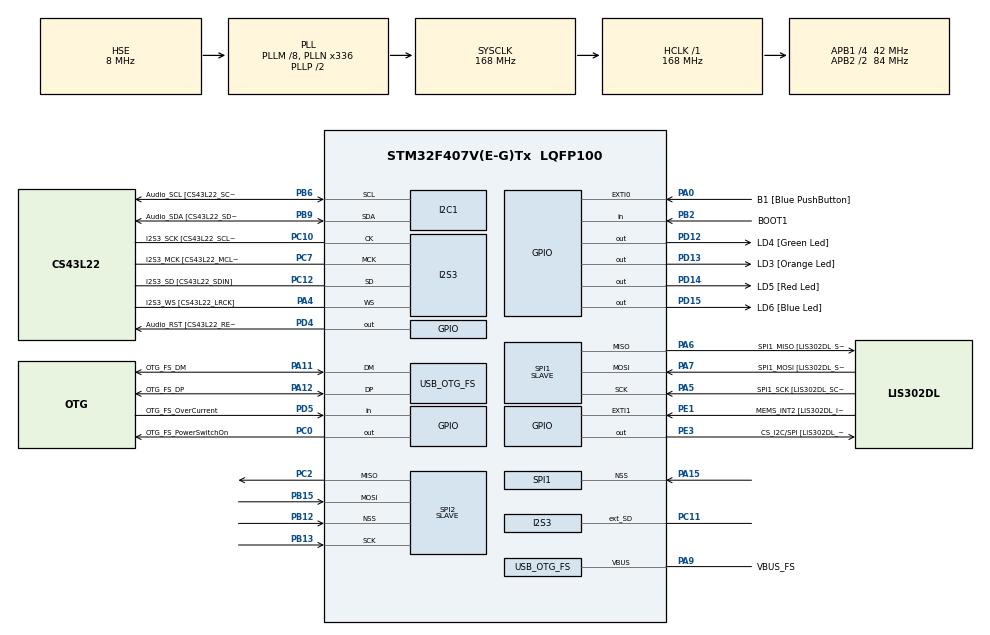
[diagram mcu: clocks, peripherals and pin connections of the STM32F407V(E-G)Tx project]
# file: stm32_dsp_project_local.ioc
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Dma.Request0=SPI2_RX
Dma.Request1=SPI1_RX
Dma.SPI1_RX.1.Direction=DMA_PERIPH_TO_MEMORY
Dma.SPI1_RX.1.FIFOMode=DMA_FIFOMODE_DISABLE
Dma.SPI1_RX.1.Instance=DMA2_Stream0
Dma.SPI1_RX.1.MemDataAlignment=DMA_MDATAALIGN_BYTE
Dma.SPI1_RX.1.MemInc=DMA_MINC_ENABLE
Dma.SPI1_RX.1.Mode=DMA_NORMAL
Dma.SPI1_RX.1.PeriphDataAlignment=DMA_PDATAALIGN_BYTE
Dma.SPI1_RX.1.PeriphInc=DMA_PINC_DISABLE
Dma.SPI1_RX.1.Priority=DMA_PRIORITY_LOW
Dma.SPI2_RX.0.Direction=DMA_PERIPH_TO_MEMORY
Dma.SPI2_RX.0.FIFOMode=DMA_FIFOMODE_DISABLE
Dma.SPI2_RX.0.Instance=DMA1_Stream3
Dma.SPI2_RX.0.MemDataAlignment=DMA_MDATAALIGN_BYTE
Dma.SPI2_RX.0.MemInc=DMA_MINC_ENABLE
Dma.SPI2_RX.0.Mode=DMA_NORMAL
Dma.SPI2_RX.0.PeriphDataAlignment=DMA_PDATAALIGN_BYTE
Dma.SPI2_RX.0.PeriphInc=DMA_PINC_DISABLE
Dma.SPI2_RX.0.Priority=DMA_PRIORITY_LOW
FREERTOS.Tasks01=defaultTask,0,128,StartDefaultTask,Default,NULL,Dynamic,NULL,NULL
I2S3.AudioFreq=I2S_AUDIOFREQ_32K
I2S3.DataFormat=I2S_DATAFORMAT_24B
I2S3.ErrorAudioFreq=-2.34 %
I2S3.FullDuplexMode=I2S_FULLDUPLEXMODE_ENABLE
I2S3.Instance=SPI$Index
I2S3.RealAudioFreq=31.25 KHz
I2S3.VirtualMode=I2S_MODE_MASTER
Mcu.Family=STM32F4
Mcu.Name=STM32F407V(E-G)Tx
Mcu.Package=LQFP100
NVIC.DMA1_Stream3_IRQn=true\:5\:0\:false\:false\:true\:true\:false\:true\:true
NVIC.DMA2_Stream0_IRQn=true\:5\:0\:false\:false\:true\:true\:false\:true\:true
NVIC.OTG_FS_IRQn=true\:5\:0\:false\:false\:true\:true\:true\:true\:true
NVIC.PriorityGroup=NVIC_PRIORITYGROUP_4
NVIC.SPI1_IRQn=true\:5\:0\:false\:false\:true\:true\:true\:true\:true
NVIC.SPI2_IRQn=true\:5\:0\:false\:false\:true\:true\:true\:true\:true
PA0-WKUP.GPIO_Label=B1 [Blue PushButton]
PA0-WKUP.GPIO_ModeDefaultEXTI=GPIO_MODE_EVT_RISING
PA0-WKUP.GPIO_PuPd=GPIO_NOPULL
PA0-WKUP.Signal=GPXTI0
PA10.GPIO_Label=OTG_FS_ID
PA10.GPIO_Mode=GPIO_MODE_AF_PP
PA10.GPIO_PuPd=GPIO_NOPULL
PA10.GPIO_Speed=GPIO_SPEED_FREQ_LOW
PA10.Signal=USB_OTG_FS_ID
PA11.GPIO_Label=OTG_FS_DM
PA11.GPIO_Mode=GPIO_MODE_AF_PP
PA11.GPIO_PuPd=GPIO_NOPULL
PA11.GPIO_Speed=GPIO_SPEED_FREQ_LOW
PA11.Mode=Host_Only
PA11.Signal=USB_OTG_FS_DM
PA12.GPIO_Label=OTG_FS_DP
PA12.GPIO_Mode=GPIO_MODE_AF_PP
PA12.GPIO_PuPd=GPIO_NOPULL
PA12.GPIO_Speed=GPIO_SPEED_FREQ_LOW
PA12.Mode=Host_Only
PA12.Signal=USB_OTG_FS_DP
PA13.GPIO_Label=SWDIO
PA13.Mode=Serial_Wire
PA13.Signal=SYS_JTMS-SWDIO
PA14.GPIO_Label=SWCLK
PA14.Mode=Serial_Wire
PA14.Signal=SYS_JTCK-SWCLK
PA15.Mode=NSS_Signal_Hard_Input
PA15.Signal=SPI1_NSS
PA4.GPIO_Label=I2S3_WS [CS43L22_LRCK]
PA4.GPIO_Mode=GPIO_MODE_AF_PP
PA4.GPIO_PuPd=GPIO_NOPULL
PA4.GPIO_Speed=GPIO_SPEED_FREQ_LOW
PA4.Mode=Full_Duplex_Master
PA4.Signal=I2S3_WS
PA5.GPIO_Label=SPI1_SCK [LIS302DL_SCL/SPC]
PA5.GPIO_Mode=GPIO_MODE_AF_PP
PA5.GPIO_PuPd=GPIO_NOPULL
PA5.GPIO_Speed=GPIO_SPEED_FREQ_LOW
PA5.Mode=Full_Duplex_Slave
PA5.Signal=SPI1_SCK
PA6.GPIO_Label=SPI1_MISO [LIS302DL_SDO]
PA6.GPIO_Mode=GPIO_MODE_AF_PP
PA6.GPIO_PuPd=GPIO_NOPULL
PA6.GPIO_Speed=GPIO_SPEED_FREQ_LOW
PA6.Mode=Full_Duplex_Slave
PA6.Signal=SPI1_MISO
PA7.GPIO_Label=SPI1_MOSI [LIS302DL_SDA/SDI/SDO]
PA7.GPIO_Mode=GPIO_MODE_AF_PP
PA7.GPIO_PuPd=GPIO_NOPULL
PA7.GPIO_Speed=GPIO_SPEED_FREQ_LOW
PA7.Mode=Full_Duplex_Slave
PA7.Signal=SPI1_MOSI
PA9.GPIO_Label=VBUS_FS
PA9.GPIO_Mode=GPIO_MODE_INPUT
PA9.GPIO_PuPd=GPIO_NOPULL
PA9.Mode=Activate_VBUS
PA9.Signal=USB_OTG_FS_VBUS
PB10.GPIO_Label=CLK_IN [MP45DT02_CLK]
PB10.GPIO_Mode=GPIO_MODE_AF_PP
PB10.GPIO_PuPd=GPIO_NOPULL
PB10.GPIO_Speed=GPIO_SPEED_FREQ_LOW
PB10.Signal=I2S2_CK
PB12.Mode=NSS_Signal_Hard_Input
PB12.Signal=SPI2_NSS
PB13.Mode=Full_Duplex_Slave
PB13.Signal=SPI2_SCK
PB15.Mode=Full_Duplex_Slave
PB15.Signal=SPI2_MOSI
PB2.GPIO_Label=BOOT1
PB2.GPIO_Mode=GPIO_MODE_INPUT
PB2.GPIO_PuPd=GPIO_NOPULL
PB2.Signal=GPIO_Input
PB3.GPIO_Label=SWO
PB3.Signal=SYS_JTDO-SWO
PB6.GPIO_Label=Audio_SCL [CS43L22_SCL]
PB6.GPIO_Mode=GPIO_MODE_AF_OD
PB6.GPIO_Pu=GPIO_PULLUP
PB6.GPIO_PuPd=GPIO_NOPULL
PB6.GPIO_Speed=GPIO_SPEED_FREQ_LOW
PB6.Mode=I2C
PB6.Signal=I2C1_SCL
PB9.GPIO_Label=Audio_SDA [CS43L22_SDA]
PB9.GPIO_Mode=GPIO_MODE_AF_OD
PB9.GPIO_Pu=GPIO_PULLUP
PB9.GPIO_PuPd=GPIO_NOPULL
PB9.GPIO_Speed=GPIO_SPEED_FREQ_LOW
PB9.Mode=I2C
PB9.Signal=I2C1_SDA
PC0.GPIO_Label=OTG_FS_PowerSwitchOn
PC0.GPIO_PuPd=GPIO_NOPULL
PC0.GPIO_Speed=GPIO_SPEED_FREQ_LOW
PC0.PinState=GPIO_PIN_SET
PC0.Signal=GPIO_Output
PC10.GPIO_Label=I2S3_SCK [CS43L22_SCLK]
PC10.GPIO_Mode=GPIO_MODE_AF_PP
PC10.GPIO_PuPd=GPIO_NOPULL
PC10.GPIO_Speed=GPIO_SPEED_FREQ_LOW
PC10.Mode=Full_Duplex_Master
PC10.Signal=I2S3_CK
PC11.Mode=Full_Duplex_Master
PC11.Signal=I2S3_ext_SD
PC12.GPIO_Label=I2S3_SD [CS43L22_SDIN]
PC12.GPIO_Mode=GPIO_MODE_AF_PP
PC12.GPIO_PuPd=GPIO_NOPULL
PC12.GPIO_Speed=GPIO_SPEED_FREQ_LOW
PC12.Mode=Full_Duplex_Master
PC12.Signal=I2S3_SD
PC14-OSC32_IN.GPIO_Label=PC14-OSC32_IN
PC14-OSC32_IN.Mode=LSE-External-Oscillator
PC14-OSC32_IN.Signal=RCC_OSC32_IN
PC15-OSC32_OUT.GPIO_Label=PC15-OSC32_OUT
PC15-OSC32_OUT.Mode=LSE-External-Oscillator
PC15-OSC32_OUT.Signal=RCC_OSC32_OUT
PC2.Mode=Full_Duplex_Slave
PC2.Signal=SPI2_MISO
PC3.GPIO_Label=PDM_OUT [MP45DT02_DOUT]
PC3.GPIO_Mode=GPIO_MODE_AF_PP
PC3.GPIO_PuPd=GPIO_NOPULL
PC3.GPIO_Speed=GPIO_SPEED_FREQ_LOW
PC3.Signal=I2S2_SD
PC7.GPIO_Label=I2S3_MCK [CS43L22_MCLK]
PC7.GPIO_Mode=GPIO_MODE_AF_PP
PC7.GPIO_PuPd=GPIO_NOPULL
PC7.GPIO_Speed=GPIO_SPEED_FREQ_LOW
PC7.Mode=Master_Clock_Activated
PC7.Signal=I2S3_MCK
PD12.GPIO_Label=LD4 [Green Led]
PD12.GPIO_PuPd=GPIO_NOPULL
PD12.GPIO_Speed=GPIO_SPEED_FREQ_LOW
PD12.Signal=GPIO_Output
PD13.GPIO_Label=LD3 [Orange Led]
PD13.GPIO_PuPd=GPIO_NOPULL
PD13.GPIO_Speed=GPIO_SPEED_FREQ_LOW
PD13.Signal=GPIO_Output
PD14.GPIO_Label=LD5 [Red Led]
PD14.GPIO_PuPd=GPIO_NOPULL
PD14.GPIO_Speed=GPIO_SPEED_FREQ_LOW
PD14.Signal=GPIO_Output
PD15.GPIO_Label=LD6 [Blue Led]
PD15.GPIO_PuPd=GPIO_NOPULL
PD15.GPIO_Speed=GPIO_SPEED_FREQ_LOW
PD15.Signal=GPIO_Output
PD4.GPIO_Label=Audio_RST [CS43L22_RESET]
PD4.GPIO_PuPd=GPIO_NOPULL
PD4.GPIO_Speed=GPIO_SPEED_FREQ_LOW
PD4.Signal=GPIO_Output
PD5.GPIO_Label=OTG_FS_OverCurrent
PD5.GPIO_Mode=GPIO_MODE_INPUT
PD5.GPIO_PuPd=GPIO_NOPULL
PD5.Signal=GPIO_Input
PE1.GPIO_Label=MEMS_INT2 [LIS302DL_INT2]
PE1.GPIO_ModeDefaultEXTI=GPIO_MODE_EVT_RISING
PE1.GPIO_PuPd=GPIO_NOPULL
PE1.Signal=GPXTI1
PE3.GPIO_Label=CS_I2C/SPI [LIS302DL_CS_I2C/SPI]
PE3.GPIO_PuPd=GPIO_NOPULL
PE3.GPIO_Speed=GPIO_SPEED_FREQ_LOW
PE3.Signal=GPIO_Output
PH0-OSC_IN.GPIO_Label=PH0-OSC_IN
PH0-OSC_IN.Mode=HSE-External-Oscillator
PH0-OSC_IN.Signal=RCC_OSC_IN
PH1-OSC_OUT.GPIO_Label=PH1-OSC_OUT
PH1-OSC_OUT.Mode=HSE-External-Oscillator
PH1-OSC_OUT.Signal=RCC_OSC_OUT
ProjectManager.HeapSize=0x200
ProjectManager.StackSize=0x400
ProjectManager.TargetToolchain=Makefile
RCC.48MHZClocksFreq_Value=48000000
RCC.AHBFreq_Value=168000000
RCC.APB1CLKDivider=RCC_HCLK_DIV4
RCC.APB1Freq_Value=42000000
RCC.APB1TimFreq_Value=84000000
RCC.APB2CLKDivider=RCC_HCLK_DIV2
RCC.APB2Freq_Value=84000000
RCC.APB2TimFreq_Value=168000000
RCC.CortexFreq_Value=168000000
RCC.HCLKFreq_Value=168000000
RCC.HSE_VALUE=8000000
RCC.HSI_VALUE=16000000
RCC.PLLM=8
RCC.PLLN=336
RCC.PLLQ=7
RCC.SYSCLKFreq_VALUE=168000000
RCC.SYSCLKSource=RCC_SYSCLKSOURCE_PLLCLK
RCC.VCOOutputFreq_Value=336000000
SPI1.Direction=SPI_DIRECTION_2LINES
SPI1.Mode=SPI_MODE_SLAVE
SPI1.VirtualNSS=VM_NSSHARD
SPI1.VirtualType=VM_SLAVE
SPI2.Direction=SPI_DIRECTION_2LINES
SPI2.Mode=SPI_MODE_SLAVE
SPI2.VirtualNSS=VM_NSSHARD
SPI2.VirtualType=VM_SLAVE
USB_HOST.BSP.number=1
USB_HOST.USBH_HandleTypeDef-CDC_FS=hUsbHostFS
USB_HOST.USBH_USE_OS-CDC_FS=0
USB_HOST.VirtualModeFS=Cdc
USB_HOST0.BSP.STBoard=false
USB_HOST0.BSP.api=Unknown
USB_HOST0.BSP.instance=PC0
USB_HOST0.BSP.ip=GPIO
USB_HOST0.BSP.mode=Output
USB_HOST0.BSP.name=Drive_VBUS_FS
USB_HOST0.BSP.solution=PC0
USB_OTG_FS.VirtualMode=Host_Only
USB_OTG_FS.phy_itface=HCD_PHY_EMBEDDED
VP_FREERTOS_VS_CMSIS_V1.Mode=CMSIS_V1
VP_USB_HOST_VS_USB_HOST_CDC_FS.Mode=CDC_FS
board=STM32F407G-DISC1

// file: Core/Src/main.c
/* USER CODE BEGIN Header */
/**
  ******************************************************************************
  * @file           : main.c
  * @brief          : Main program body
  ******************************************************************************
  * @attention
  *
  * Copyright (c) 2026 STMicroelectronics.
  * All rights reserved.
  *
  * This software is licensed under terms that can be found in the LICENSE file
  * in the root directory of this software component.
  * If no LICENSE file comes with this software, it is provided AS-IS.
  *
  ******************************************************************************
  */
/* USER CODE END Header */
#include "main.h"
#include "cmsis_os.h"
// #include "usb_host.h"

/* USER CODE BEGIN Includes */
#include "dsp_task.h"
#include "spi_task.h"
/* USER CODE END Includes */

I2C_HandleTypeDef hi2c1;

I2S_HandleTypeDef hi2s3;

SPI_HandleTypeDef hspi1;
SPI_HandleTypeDef hspi2;
DMA_HandleTypeDef hdma_spi1_rx;
DMA_HandleTypeDef hdma_spi2_rx;

osThreadId defaultTaskHandle;
/* USER CODE BEGIN PV */
osThreadId dspTaskHandle;
osThreadId spiTaskHandle;
osSemaphoreId spiSemHandle;

uint8_t spi_rx_buf[2];
// uint8_t test_buf[2];
// volatile uint8_t spi_done = 0;
volatile uint8_t gesture = 0;
volatile uint8_t intensity = 0;
// volatile uint8_t store[100];
// volatile uint8_t store_idx = 0;

/* USER CODE END PV */

void SystemClock_Config(void);
static void MX_GPIO_Init(void);
static void MX_DMA_Init(void);
static void MX_I2C1_Init(void);
static void MX_I2S3_Init(void);
static void MX_SPI1_Init(void);
static void MX_SPI2_Init(void);
void StartDefaultTask(void const * argument);

int main(void)
{

  /* MCU Configuration--------------------------------------------------------*/

  /* Reset of all peripherals, Initializes the Flash interface and the Systick. */
  HAL_Init();

  /* USER CODE BEGIN Init */
  GPIO_InitTypeDef GPIO_InitStruct = {0};
  GPIO_InitStruct.Pin = GPIO_PIN_12;
  GPIO_InitStruct.Mode = GPIO_MODE_OUTPUT_PP; // Push-Pull
  GPIO_InitStruct.Pull = GPIO_NOPULL;
  GPIO_InitStruct.Speed = GPIO_SPEED_FREQ_LOW;
  HAL_GPIO_Init(GPIOD, &GPIO_InitStruct);
  /* USER CODE END Init */

  /* Configure the system clock */
  SystemClock_Config();

  /* Initialize all configured peripherals */
  MX_GPIO_Init();
  MX_DMA_Init();
  MX_I2C1_Init();
  MX_I2S3_Init();
  MX_SPI1_Init();
  MX_SPI2_Init();

  /* USER CODE BEGIN 2 */
  HAL_SPI_Receive_DMA(&hspi2, spi_rx_buf, 2);
  /* USER CODE END 2 */

  /* USER CODE BEGIN RTOS_MUTEX */
  osMutexDef(paramsMutex);
  g_params_mutex = osMutexCreate(osMutex(paramsMutex));
  /* USER CODE END RTOS_MUTEX */

  /* USER CODE BEGIN RTOS_SEMAPHORES */
  /* add semaphores, ... */
    osSemaphoreDef(spiSem);
    spiSemHandle = osSemaphoreCreate(osSemaphore(spiSem), 1);
    // osSemaphoreWait(spiSemHandle, 0); // start locked

  /* USER CODE END RTOS_SEMAPHORES */

  /* Create the thread(s) */
  /* definition and creation of defaultTask */
  osThreadDef(defaultTask, StartDefaultTask, osPriorityNormal, 0, 128);
  defaultTaskHandle = osThreadCreate(osThread(defaultTask), NULL);

  /* USER CODE BEGIN RTOS_THREADS */
  osThreadDef(dspTask, StartDSPTask, osPriorityNormal, 0, 512);
  dspTaskHandle = osThreadCreate(osThread(dspTask), NULL);

  osThreadDef(spiTask, StartSPITask, osPriorityAboveNormal, 0, 512);
  spiTaskHandle = osThreadCreate(osThread(spiTask), NULL);

  /* USER CODE END RTOS_THREADS */

  /* Start scheduler */
  osKernelStart();

  /* We should never get here as control is now taken by the scheduler */

  /* Infinite loop */
  while (1)
  {

  }
}

void SystemClock_Config(void)
{
  RCC_OscInitTypeDef RCC_OscInitStruct = {0};
  RCC_ClkInitTypeDef RCC_ClkInitStruct = {0};

  /** Configure the main internal regulator output voltage
  */
  __HAL_RCC_PWR_CLK_ENABLE();
  __HAL_PWR_VOLTAGESCALING_CONFIG(PWR_REGULATOR_VOLTAGE_SCALE1);

  /** Initializes the RCC Oscillators according to the specified parameters
  * in the RCC_OscInitTypeDef structure.
  */
  RCC_OscInitStruct.OscillatorType = RCC_OSCILLATORTYPE_HSE;
  RCC_OscInitStruct.HSEState = RCC_HSE_ON;
  RCC_OscInitStruct.PLL.PLLState = RCC_PLL_ON;
  RCC_OscInitStruct.PLL.PLLSource = RCC_PLLSOURCE_HSE;
  RCC_OscInitStruct.PLL.PLLM = 8;
  RCC_OscInitStruct.PLL.PLLN = 336;
  RCC_OscInitStruct.PLL.PLLP = RCC_PLLP_DIV2;
  RCC_OscInitStruct.PLL.PLLQ = 7;
  if (HAL_RCC_OscConfig(&RCC_OscInitStruct) != HAL_OK)
  {
    Error_Handler();
  }

  /** Initializes the CPU, AHB and APB buses clocks
  */
  RCC_ClkInitStruct.ClockType = RCC_CLOCKTYPE_HCLK|RCC_CLOCKTYPE_SYSCLK
                              |RCC_CLOCKTYPE_PCLK1|RCC_CLOCKTYPE_PCLK2;
  RCC_ClkInitStruct.SYSCLKSource = RCC_SYSCLKSOURCE_PLLCLK;
  RCC_ClkInitStruct.AHBCLKDivider = RCC_SYSCLK_DIV1;
  RCC_ClkInitStruct.APB1CLKDivider = RCC_HCLK_DIV4;
  RCC_ClkInitStruct.APB2CLKDivider = RCC_HCLK_DIV2;

  if (HAL_RCC_ClockConfig(&RCC_ClkInitStruct, FLASH_LATENCY_5) != HAL_OK)
  {
    Error_Handler();
  }
}

static void MX_I2C1_Init(void)
{

  hi2c1.Instance = I2C1;
  hi2c1.Init.ClockSpeed = 100000;
  hi2c1.Init.DutyCycle = I2C_DUTYCYCLE_2;
  hi2c1.Init.OwnAddress1 = 0;
  hi2c1.Init.AddressingMode = I2C_ADDRESSINGMODE_7BIT;
  hi2c1.Init.DualAddressMode = I2C_DUALADDRESS_DISABLE;
  hi2c1.Init.OwnAddress2 = 0;
  hi2c1.Init.GeneralCallMode = I2C_GENERALCALL_DISABLE;
  hi2c1.Init.NoStretchMode = I2C_NOSTRETCH_DISABLE;
  if (HAL_I2C_Init(&hi2c1) != HAL_OK)
  {
    Error_Handler();
  }

}

static void MX_I2S3_Init(void)
{

  hi2s3.Instance = SPI3;
  hi2s3.Init.Mode = I2S_MODE_MASTER_TX;
  hi2s3.Init.Standard = I2S_STANDARD_PHILIPS;
  hi2s3.Init.DataFormat = I2S_DATAFORMAT_24B;
  hi2s3.Init.MCLKOutput = I2S_MCLKOUTPUT_ENABLE;
  hi2s3.Init.AudioFreq = I2S_AUDIOFREQ_32K;
  hi2s3.Init.CPOL = I2S_CPOL_LOW;
  hi2s3.Init.ClockSource = I2S_CLOCK_PLL;
  hi2s3.Init.FullDuplexMode = I2S_FULLDUPLEXMODE_ENABLE;
  if (HAL_I2S_Init(&hi2s3) != HAL_OK)
  {
    Error_Handler();
  }

}

static void MX_SPI1_Init(void)
{

  /* SPI1 parameter configuration*/
  hspi1.Instance = SPI1;
  hspi1.Init.Mode = SPI_MODE_SLAVE;
  hspi1.Init.Direction = SPI_DIRECTION_2LINES;
  hspi1.Init.DataSize = SPI_DATASIZE_8BIT;
  hspi1.Init.CLKPolarity = SPI_POLARITY_LOW;
  hspi1.Init.CLKPhase = SPI_PHASE_1EDGE;
  hspi1.Init.NSS = SPI_NSS_HARD_INPUT;
  hspi1.Init.FirstBit = SPI_FIRSTBIT_MSB;
  hspi1.Init.TIMode = SPI_TIMODE_DISABLE;
  hspi1.Init.CRCCalculation = SPI_CRCCALCULATION_DISABLE;
  hspi1.Init.CRCPolynomial = 10;
  if (HAL_SPI_Init(&hspi1) != HAL_OK)
  {
    Error_Handler();
  }

}

static void MX_SPI2_Init(void)
{

  /* SPI2 parameter configuration*/
  hspi2.Instance = SPI2;
  hspi2.Init.Mode = SPI_MODE_SLAVE;
  hspi2.Init.Direction = SPI_DIRECTION_2LINES;
  hspi2.Init.DataSize = SPI_DATASIZE_8BIT;
  hspi2.Init.CLKPolarity = SPI_POLARITY_LOW;
  hspi2.Init.CLKPhase = SPI_PHASE_1EDGE;
  hspi2.Init.NSS = SPI_NSS_HARD_INPUT;
  hspi2.Init.FirstBit = SPI_FIRSTBIT_MSB;
  hspi2.Init.TIMode = SPI_TIMODE_DISABLE;
  hspi2.Init.CRCCalculation = SPI_CRCCALCULATION_DISABLE;
  hspi2.Init.CRCPolynomial = 10;
  if (HAL_SPI_Init(&hspi2) != HAL_OK)
  {
    Error_Handler();
  }

}

static void MX_DMA_Init(void)
{

  /* DMA controller clock enable */
  __HAL_RCC_DMA1_CLK_ENABLE();
  __HAL_RCC_DMA2_CLK_ENABLE();

  /* DMA interrupt init */
  /* DMA1_Stream3_IRQn interrupt configuration */
  HAL_NVIC_SetPriority(DMA1_Stream3_IRQn, 5, 0);
  HAL_NVIC_EnableIRQ(DMA1_Stream3_IRQn);
  /* DMA2_Stream0_IRQn interrupt configuration */
  HAL_NVIC_SetPriority(DMA2_Stream0_IRQn, 5, 0);
  HAL_NVIC_EnableIRQ(DMA2_Stream0_IRQn);

}

static void MX_GPIO_Init(void)
{
  GPIO_InitTypeDef GPIO_InitStruct = {0};

  /* GPIO Ports Clock Enable */
  __HAL_RCC_GPIOE_CLK_ENABLE();
  __HAL_RCC_GPIOC_CLK_ENABLE();
  __HAL_RCC_GPIOH_CLK_ENABLE();
  __HAL_RCC_GPIOA_CLK_ENABLE();
  __HAL_RCC_GPIOB_CLK_ENABLE();
  __HAL_RCC_GPIOD_CLK_ENABLE();

  /*Configure GPIO pin Output Level */
  HAL_GPIO_WritePin(CS_I2C_SPI_GPIO_Port, CS_I2C_SPI_Pin, GPIO_PIN_RESET);

  /*Configure GPIO pin Output Level */
  HAL_GPIO_WritePin(OTG_FS_PowerSwitchOn_GPIO_Port, OTG_FS_PowerSwitchOn_Pin, GPIO_PIN_SET);

  /*Configure GPIO pin Output Level */
  HAL_GPIO_WritePin(GPIOD, LD4_Pin|LD3_Pin|LD5_Pin|LD6_Pin
                          |Audio_RST_Pin, GPIO_PIN_RESET);

  /*Configure GPIO pin : CS_I2C_SPI_Pin */
  GPIO_InitStruct.Pin = CS_I2C_SPI_Pin;
  GPIO_InitStruct.Mode = GPIO_MODE_OUTPUT_PP;
  GPIO_InitStruct.Pull = GPIO_NOPULL;
  GPIO_InitStruct.Speed = GPIO_SPEED_FREQ_LOW;
  HAL_GPIO_Init(CS_I2C_SPI_GPIO_Port, &GPIO_InitStruct);

  /*Configure GPIO pin : OTG_FS_PowerSwitchOn_Pin */
  GPIO_InitStruct.Pin = OTG_FS_PowerSwitchOn_Pin;
  GPIO_InitStruct.Mode = GPIO_MODE_OUTPUT_PP;
  GPIO_InitStruct.Pull = GPIO_NOPULL;
  GPIO_InitStruct.Speed = GPIO_SPEED_FREQ_LOW;
  HAL_GPIO_Init(OTG_FS_PowerSwitchOn_GPIO_Port, &GPIO_InitStruct);

  /*Configure GPIO pin : PDM_OUT_Pin */
  GPIO_InitStruct.Pin = PDM_OUT_Pin;
  GPIO_InitStruct.Mode = GPIO_MODE_AF_PP;
  GPIO_InitStruct.Pull = GPIO_NOPULL;
  GPIO_InitStruct.Speed = GPIO_SPEED_FREQ_LOW;
  GPIO_InitStruct.Alternate = GPIO_AF5_SPI2;
  HAL_GPIO_Init(PDM_OUT_GPIO_Port, &GPIO_InitStruct);

  /*Configure GPIO pin : B1_Pin */
  GPIO_InitStruct.Pin = B1_Pin;
  GPIO_InitStruct.Mode = GPIO_MODE_EVT_RISING;
  GPIO_InitStruct.Pull = GPIO_NOPULL;
  HAL_GPIO_Init(B1_GPIO_Port, &GPIO_InitStruct);

  /*Configure GPIO pin : BOOT1_Pin */
  GPIO_InitStruct.Pin = BOOT1_Pin;
  GPIO_InitStruct.Mode = GPIO_MODE_INPUT;
  GPIO_InitStruct.Pull = GPIO_NOPULL;
  HAL_GPIO_Init(BOOT1_GPIO_Port, &GPIO_InitStruct);

  /*Configure GPIO pin : CLK_IN_Pin */
  GPIO_InitStruct.Pin = CLK_IN_Pin;
  GPIO_InitStruct.Mode = GPIO_MODE_AF_PP;
  GPIO_InitStruct.Pull = GPIO_NOPULL;
  GPIO_InitStruct.Speed = GPIO_SPEED_FREQ_LOW;
  GPIO_InitStruct.Alternate = GPIO_AF5_SPI2;
  HAL_GPIO_Init(CLK_IN_GPIO_Port, &GPIO_InitStruct);

  /*Configure GPIO pins : LD4_Pin LD3_Pin LD5_Pin LD6_Pin
                           Audio_RST_Pin */
  GPIO_InitStruct.Pin = LD4_Pin|LD3_Pin|LD5_Pin|LD6_Pin
                          |Audio_RST_Pin;
  GPIO_InitStruct.Mode = GPIO_MODE_OUTPUT_PP;
  GPIO_InitStruct.Pull = GPIO_NOPULL;
  GPIO_InitStruct.Speed = GPIO_SPEED_FREQ_LOW;
  HAL_GPIO_Init(GPIOD, &GPIO_InitStruct);

  /*Configure GPIO pin : OTG_FS_OverCurrent_Pin */
  GPIO_InitStruct.Pin = OTG_FS_OverCurrent_Pin;
  GPIO_InitStruct.Mode = GPIO_MODE_INPUT;
  GPIO_InitStruct.Pull = GPIO_NOPULL;
  HAL_GPIO_Init(OTG_FS_OverCurrent_GPIO_Port, &GPIO_InitStruct);

  /*Configure GPIO pin : MEMS_INT2_Pin */
  GPIO_InitStruct.Pin = MEMS_INT2_Pin;
  GPIO_InitStruct.Mode = GPIO_MODE_EVT_RISING;
  GPIO_InitStruct.Pull = GPIO_NOPULL;
  HAL_GPIO_Init(MEMS_INT2_GPIO_Port, &GPIO_InitStruct);

}

/* USER CODE BEGIN 4 */
void HAL_SPI_RxCpltCallback(SPI_HandleTypeDef *hspi)
{
    if (hspi->Instance == SPI2)
    {
        gesture = spi_rx_buf[0];
        intensity = spi_rx_buf[1];

        HAL_GPIO_TogglePin(GPIOD, LD6_Pin);

        osSemaphoreRelease(spiSemHandle);

        HAL_SPI_Receive_DMA(&hspi2, spi_rx_buf, 2);
    }
}
/* USER CODE END 4 */

void StartDefaultTask(void const * argument)
{
  /* init code for USB_HOST */
  // MX_USB_HOST_Init();
  /* USER CODE BEGIN 5 */
  /* Infinite loop */
  for(;;)
  {
    HAL_GPIO_TogglePin(GPIOD, GPIO_PIN_12);
    osDelay(500);
  }
  /* USER CODE END 5 */
}

void Error_Handler(void)
{
  __disable_irq();
  while (1)
  {
  }
}

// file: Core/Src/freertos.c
/* USER CODE BEGIN Header */
/**
  ******************************************************************************
  * File Name          : freertos.c
  * Description        : Code for freertos applications
  ******************************************************************************
  * @attention
  *
  * Copyright (c) 2026 STMicroelectronics.
  * All rights reserved.
  *
  * This software is licensed under terms that can be found in the LICENSE file
  * in the root directory of this software component.
  * If no LICENSE file comes with this software, it is provided AS-IS.
  *
  ******************************************************************************
  */
/* USER CODE END Header */

#include "FreeRTOS.h"
#include "task.h"
#include "main.h"

/* GetIdleTaskMemory prototype (linked to static allocation support) */
void vApplicationGetIdleTaskMemory( StaticTask_t **ppxIdleTaskTCBBuffer, StackType_t **ppxIdleTaskStackBuffer, uint32_t *pulIdleTaskStackSize );

/* USER CODE BEGIN GET_IDLE_TASK_MEMORY */
static StaticTask_t xIdleTaskTCBBuffer;
static StackType_t xIdleStack[configMINIMAL_STACK_SIZE];

void vApplicationGetIdleTaskMemory( StaticTask_t **ppxIdleTaskTCBBuffer, StackType_t **ppxIdleTaskStackBuffer, uint32_t *pulIdleTaskStackSize )
{
  *ppxIdleTaskTCBBuffer = &xIdleTaskTCBBuffer;
  *ppxIdleTaskStackBuffer = &xIdleStack[0];
  *pulIdleTaskStackSize = configMINIMAL_STACK_SIZE;
  /* place for user code */
}
/* USER CODE END GET_IDLE_TASK_MEMORY */

/* USER CODE BEGIN Application */
void vApplicationMallocFailedHook(void)
{
    HAL_GPIO_WritePin(GPIOD, LD5_Pin, GPIO_PIN_SET);

    while(1);
}
/* USER CODE END Application */
